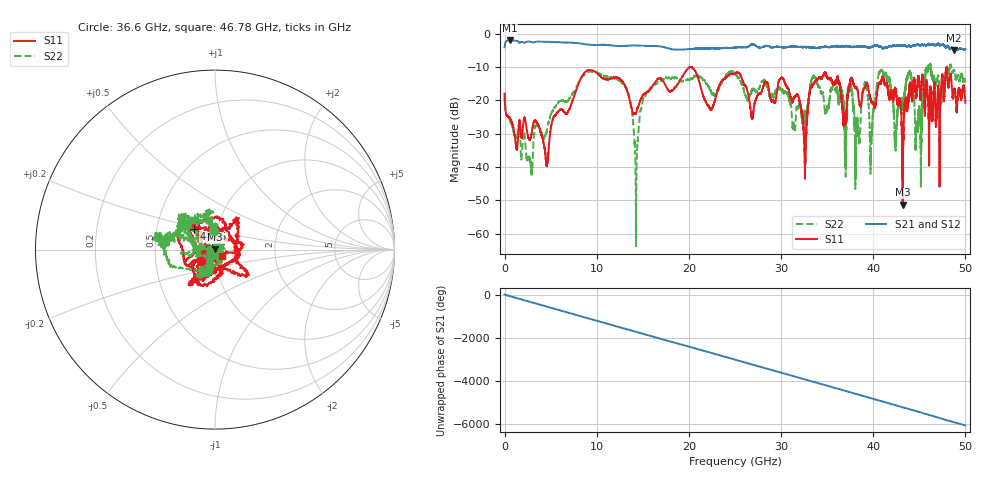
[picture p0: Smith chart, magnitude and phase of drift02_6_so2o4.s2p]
!Created with skrf (http://scikit-rf.org).
# Hz S RI R 50.0
!freq ReS11 ImS11 ReS21 ImS21 ReS12 ImS12 ReS22 ImS22
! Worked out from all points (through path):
!   10001 points, 300 kHz to 50 GHz, reference 50 ohm
!   highest |S21| = -2.00 dB at 555.3 MHz (marker M1); lowest = -4.9 dB at 48.76 GHz (marker M2)
!   group delay of S21, straight-line fit = 337 ps
!   lowest |S11| = -51.4 dB at 43.19 GHz (marker M3), VSWR 1.01, Z = 50 + j0.27 ohm
!   |S11| at or under -10 dB: start of sweep to 20.06 GHz; 20.23219 GHz to 20.23753 GHz (5.332 MHz wide, 0.0264 % of centre); 20.24 GHz to end of sweep
!   |S22| runs from -63.8 to -8.9 dB; largest |S21 - S12| = 0.034
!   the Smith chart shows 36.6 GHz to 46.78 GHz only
!   S11 on the Smith chart (normalised r, x): 36.6 GHz: 0.85, -0.11; 44.05 GHz: 0.77, +0.18; 46.78 GHz: 1.08, -0.08
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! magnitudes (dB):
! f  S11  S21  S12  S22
! 300 kHz  -18.1  -4.0  -4.0  -17.6
! 555.3 MHz  -25.1  -2.0  -2.0  -26.0
! 4.565 GHz  -39.8  -2.4  -2.4  -29.4
! 8.335 GHz  -13.0  -2.9  -2.9  -13.2
! 13.03 GHz  -15.3  -3.6  -3.6  -15.6
! 14.28 GHz  -23.7  -3.5  -3.5  -51.4
! 16.67 GHz  -13.4  -3.7  -3.7  -14.5
! 25 GHz  -12.0  -4.1  -4.1  -12.0
! 30.16 GHz  -13.3  -4.0  -4.1  -17.2
! 32.56 GHz  -38.7  -4.0  -4.0  -24.7
! 33.34 GHz  -15.8  -4.0  -4.1  -13.4
! 36.6 GHz  -20.2  -3.7  -3.8  -19.9
! 38.29 GHz  -16.8  -4.0  -3.9  -25.5
! 39.14 GHz  -15.9  -3.9  -3.8  -14.5
! 39.8 GHz  -20.4  -4.0  -4.0  -30.8
! 41.67 GHz  -18.6  -3.8  -3.9  -13.3
! 43.19 GHz  -51.4  -3.6  -3.6  -21.3
! 44.05 GHz  -15.8  -4.0  -3.9  -11.7
! 44.99 GHz  -14.3  -3.4  -3.3  -22.7
! 46.78 GHz  -25.6  -3.4  -3.4  -15.6
! 48.76 GHz  -17.0  -4.9  -4.8  -10.9
! 50 GHz  -20.7  -4.7  -4.6  -14.4
